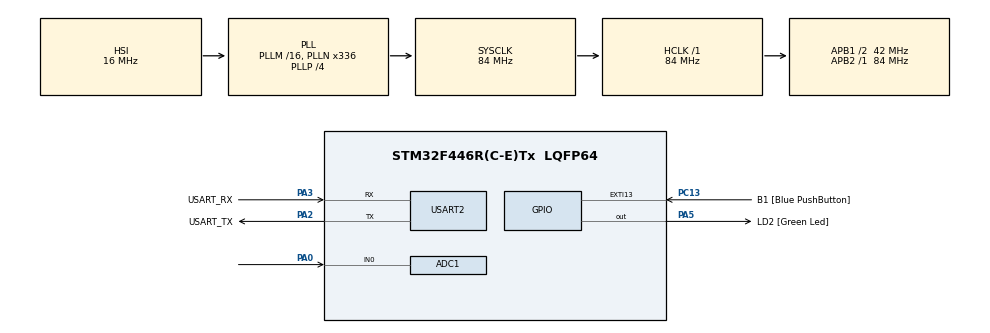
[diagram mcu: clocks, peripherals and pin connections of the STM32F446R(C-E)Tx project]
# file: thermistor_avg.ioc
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ADC1.Channel-0\#ChannelRegularConversion=ADC_CHANNEL_0
ADC1.NbrOfConversionFlag=1
ADC1.Rank-0\#ChannelRegularConversion=1
ADC1.SamplingTime-0\#ChannelRegularConversion=ADC_SAMPLETIME_84CYCLES
ADC1.master=1
Mcu.Family=STM32F4
Mcu.Name=STM32F446R(C-E)Tx
Mcu.Package=LQFP64
NVIC.PriorityGroup=NVIC_PRIORITYGROUP_0
NVIC.TIM3_IRQn=true\:0\:0\:false\:false\:true\:true\:true\:true
PA0-WKUP.Signal=ADCx_IN0
PA13.GPIO_Label=TMS
PA13.Mode=Serial_Wire
PA13.Signal=SYS_JTMS-SWDIO
PA14.GPIO_Label=TCK
PA14.Mode=Serial_Wire
PA14.Signal=SYS_JTCK-SWCLK
PA2.GPIO_Label=USART_TX
PA2.Mode=Asynchronous
PA2.Signal=USART2_TX
PA3.GPIO_Label=USART_RX
PA3.Mode=Asynchronous
PA3.Signal=USART2_RX
PA5.GPIO_Label=LD2 [Green Led]
PA5.Signal=GPIO_Output
PB3.GPIO_Label=SWO
PB3.Signal=SYS_JTDO-SWO
PC13.GPIO_Label=B1 [Blue PushButton]
PC13.GPIO_ModeDefaultEXTI=GPIO_MODE_IT_FALLING
PC13.Signal=GPXTI13
PC14-OSC32_IN.Signal=RCC_OSC32_IN
PC15-OSC32_OUT.Signal=RCC_OSC32_OUT
PH0-OSC_IN.Signal=RCC_OSC_IN
PH1-OSC_OUT.Signal=RCC_OSC_OUT
ProjectManager.HeapSize=0x200
ProjectManager.StackSize=0x400
ProjectManager.TargetToolchain=STM32CubeIDE
RCC.AHBFreq_Value=84000000
RCC.APB1CLKDivider=RCC_HCLK_DIV2
RCC.APB1Freq_Value=42000000
RCC.APB1TimFreq_Value=84000000
RCC.APB2Freq_Value=84000000
RCC.APB2TimFreq_Value=84000000
RCC.CortexFreq_Value=84000000
RCC.FLatency-AdvancedSettings=FLASH_LATENCY_2
RCC.HCLKFreq_Value=84000000
RCC.HSE_VALUE=8000000
RCC.HSI_VALUE=16000000
RCC.LSE_VALUE=32768
RCC.PLLN=336
RCC.PLLP=RCC_PLLP_DIV4
RCC.SYSCLKFreq_VALUE=84000000
RCC.SYSCLKSource=RCC_SYSCLKSOURCE_PLLCLK
RCC.USBFreq_Value=168000000
RCC.VCOOutputFreq_Value=336000000
SH.ADCx_IN0.0=ADC1_IN0,IN0
TIM3.Period=999
TIM3.Prescaler=8399
USART2.VirtualMode=VM_ASYNC
VP_TIM3_VS_ClockSourceINT.Mode=Internal
board=NUCLEO-F446RE

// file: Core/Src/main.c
/* USER CODE BEGIN Header */
/**
  ******************************************************************************
  * @file           : main.c
  * @brief          : Main program body
  ******************************************************************************
  * @attention
  *
  * Copyright (c) 2026 STMicroelectronics.
  * All rights reserved.
  *
  * This software is licensed under terms that can be found in the LICENSE file
  * in the root directory of this software component.
  * If no LICENSE file comes with this software, it is provided AS-IS.
  *
  ******************************************************************************
  */
/* USER CODE END Header */
#include "main.h"

/* USER CODE BEGIN Includes */
#include <string.h>
#include <stdio.h>
#include <math.h>
/* USER CODE END Includes */

/* USER CODE BEGIN PTD */
typedef enum{
	THERM_OK = 0,
	THERM_DISCONNECTED = 1,
	THERM_SHORTED = 2,
}ThermStatus;

typedef enum{
	THERM_REPORT_OK = 0,
	THERM_REPORT_READ_ERROR = 1,
	THERM_REPORT_SHORTED = 2,
	THERM_REPORT_DISCONNECTED = 3
}ThermTallyReport;

typedef struct{
	uint32_t ok_adc_sum;
	uint8_t read_ok;
	uint8_t disconnected;
	uint8_t shorted;
	uint8_t read_error;
}SampleTally;
/* USER CODE END PTD */

/* USER CODE BEGIN PM */
#define ADC_TIMEOUT_MS 10
#define R_FIXED 9870.0f // measured fixed resistor (ohms)
#define R_0 10000.0f // thermistor resistance at 25 C
#define T_0 298.15f // 25 C in Kelvin
#define BETA 3950.0f
#define KELVIN_OFFSET 273.15f
#define UART_TIMEOUT_MS 100
#define ADC_MIN_VALID 50
#define ADC_MAX_VALID 4045
#define ADC_MAX_COUNT 4095.0f
#define SAMPLES_PER_AVE 10
/* USER CODE END PM */

ADC_HandleTypeDef hadc1;

TIM_HandleTypeDef htim3;

UART_HandleTypeDef huart2;

/* USER CODE BEGIN PV */
volatile uint8_t sample_flag = 0;

/* USER CODE END PV */

void SystemClock_Config(void);
static void MX_GPIO_Init(void);
static void MX_USART2_UART_Init(void);
static void MX_ADC1_Init(void);
static void MX_TIM3_Init(void);

/* USER CODE BEGIN PFP */
HAL_StatusTypeDef readThermistorRaw(ADC_HandleTypeDef *hadc, uint32_t *raw_count);
float adcToTempF(float adc);
HAL_StatusTypeDef uartPrint(UART_HandleTypeDef *huart, const char *msg);
ThermStatus getThermStatus(uint32_t raw_count);
uint32_t getTallyTotal(const SampleTally *tally);
void recordSample(SampleTally *tally, HAL_StatusTypeDef status, uint32_t raw_count);
void resetTally(SampleTally *tally);
ThermTallyReport getDecision(const SampleTally *tally);
HAL_StatusTypeDef printReport(UART_HandleTypeDef *huart, ThermTallyReport decision, float temp_f);

/* USER CODE END PFP */

int main(void)
{

  /* MCU Configuration--------------------------------------------------------*/

  /* Reset of all peripherals, Initializes the Flash interface and the Systick. */
  HAL_Init();

  /* Configure the system clock */
  SystemClock_Config();

  /* Initialize all configured peripherals */
  MX_GPIO_Init();
  MX_USART2_UART_Init();
  MX_ADC1_Init();
  MX_TIM3_Init();
  /* USER CODE BEGIN 2 */
  char buffer[32];
  SampleTally tally = {0};
  float temp_f = 0.0f;

  HAL_StatusTypeDef status = HAL_TIM_Base_Start_IT(&htim3);
  if(status != HAL_OK){
	  snprintf(buffer, sizeof(buffer), "Timer start error: %d\r\n", status);
	  (void)uartPrint(&huart2, buffer);
	  Error_Handler();
  }
  /* USER CODE END 2 */

  /* Infinite loop */
  while (1)
  {

	  /* USER CODE BEGIN 3 */
	  if(sample_flag == 1){
		  sample_flag = 0;
		  uint32_t adc = 0;
		  status = readThermistorRaw(&hadc1, &adc);
		  recordSample(&tally, status, adc);
		  if(getTallyTotal(&tally) == SAMPLES_PER_AVE){
			  ThermTallyReport decision = getDecision(&tally);
			  if(decision == THERM_REPORT_OK){
				  float ave_adc = (float)(tally.ok_adc_sum) / tally.read_ok;
				  temp_f = adcToTempF(ave_adc);
			  }
			  (void)printReport(&huart2, decision, temp_f);
			  resetTally(&tally);
		  }
	  }
  }
  /* USER CODE END 3 */
}

void SystemClock_Config(void)
{
  RCC_OscInitTypeDef RCC_OscInitStruct = {0};
  RCC_ClkInitTypeDef RCC_ClkInitStruct = {0};

  /** Configure the main internal regulator output voltage
  */
  __HAL_RCC_PWR_CLK_ENABLE();
  __HAL_PWR_VOLTAGESCALING_CONFIG(PWR_REGULATOR_VOLTAGE_SCALE3);

  /** Initializes the RCC Oscillators according to the specified parameters
  * in the RCC_OscInitTypeDef structure.
  */
  RCC_OscInitStruct.OscillatorType = RCC_OSCILLATORTYPE_HSI;
  RCC_OscInitStruct.HSIState = RCC_HSI_ON;
  RCC_OscInitStruct.HSICalibrationValue = RCC_HSICALIBRATION_DEFAULT;
  RCC_OscInitStruct.PLL.PLLState = RCC_PLL_ON;
  RCC_OscInitStruct.PLL.PLLSource = RCC_PLLSOURCE_HSI;
  RCC_OscInitStruct.PLL.PLLM = 16;
  RCC_OscInitStruct.PLL.PLLN = 336;
  RCC_OscInitStruct.PLL.PLLP = RCC_PLLP_DIV4;
  RCC_OscInitStruct.PLL.PLLQ = 2;
  RCC_OscInitStruct.PLL.PLLR = 2;
  if (HAL_RCC_OscConfig(&RCC_OscInitStruct) != HAL_OK)
  {
    Error_Handler();
  }

  /** Initializes the CPU, AHB and APB buses clocks
  */
  RCC_ClkInitStruct.ClockType = RCC_CLOCKTYPE_HCLK|RCC_CLOCKTYPE_SYSCLK
                              |RCC_CLOCKTYPE_PCLK1|RCC_CLOCKTYPE_PCLK2;
  RCC_ClkInitStruct.SYSCLKSource = RCC_SYSCLKSOURCE_PLLCLK;
  RCC_ClkInitStruct.AHBCLKDivider = RCC_SYSCLK_DIV1;
  RCC_ClkInitStruct.APB1CLKDivider = RCC_HCLK_DIV2;
  RCC_ClkInitStruct.APB2CLKDivider = RCC_HCLK_DIV1;

  if (HAL_RCC_ClockConfig(&RCC_ClkInitStruct, FLASH_LATENCY_2) != HAL_OK)
  {
    Error_Handler();
  }
}

static void MX_ADC1_Init(void)
{

  ADC_ChannelConfTypeDef sConfig = {0};

  /** Configure the global features of the ADC (Clock, Resolution, Data Alignment and number of conversion)
  */
  hadc1.Instance = ADC1;
  hadc1.Init.ClockPrescaler = ADC_CLOCK_SYNC_PCLK_DIV4;
  hadc1.Init.Resolution = ADC_RESOLUTION_12B;
  hadc1.Init.ScanConvMode = DISABLE;
  hadc1.Init.ContinuousConvMode = DISABLE;
  hadc1.Init.DiscontinuousConvMode = DISABLE;
  hadc1.Init.ExternalTrigConvEdge = ADC_EXTERNALTRIGCONVEDGE_NONE;
  hadc1.Init.ExternalTrigConv = ADC_SOFTWARE_START;
  hadc1.Init.DataAlign = ADC_DATAALIGN_RIGHT;
  hadc1.Init.NbrOfConversion = 1;
  hadc1.Init.DMAContinuousRequests = DISABLE;
  hadc1.Init.EOCSelection = ADC_EOC_SINGLE_CONV;
  if (HAL_ADC_Init(&hadc1) != HAL_OK)
  {
    Error_Handler();
  }

  /** Configure for the selected ADC regular channel its corresponding rank in the sequencer and its sample time.
  */
  sConfig.Channel = ADC_CHANNEL_0;
  sConfig.Rank = 1;
  sConfig.SamplingTime = ADC_SAMPLETIME_84CYCLES;
  if (HAL_ADC_ConfigChannel(&hadc1, &sConfig) != HAL_OK)
  {
    Error_Handler();
  }

}

static void MX_TIM3_Init(void)
{

  TIM_ClockConfigTypeDef sClockSourceConfig = {0};
  TIM_MasterConfigTypeDef sMasterConfig = {0};

  htim3.Instance = TIM3;
  htim3.Init.Prescaler = 8399;
  htim3.Init.CounterMode = TIM_COUNTERMODE_UP;
  htim3.Init.Period = 999;
  htim3.Init.ClockDivision = TIM_CLOCKDIVISION_DIV1;
  htim3.Init.AutoReloadPreload = TIM_AUTORELOAD_PRELOAD_DISABLE;
  if (HAL_TIM_Base_Init(&htim3) != HAL_OK)
  {
    Error_Handler();
  }
  sClockSourceConfig.ClockSource = TIM_CLOCKSOURCE_INTERNAL;
  if (HAL_TIM_ConfigClockSource(&htim3, &sClockSourceConfig) != HAL_OK)
  {
    Error_Handler();
  }
  sMasterConfig.MasterOutputTrigger = TIM_TRGO_RESET;
  sMasterConfig.MasterSlaveMode = TIM_MASTERSLAVEMODE_DISABLE;
  if (HAL_TIMEx_MasterConfigSynchronization(&htim3, &sMasterConfig) != HAL_OK)
  {
    Error_Handler();
  }

}

static void MX_USART2_UART_Init(void)
{

  huart2.Instance = USART2;
  huart2.Init.BaudRate = 115200;
  huart2.Init.WordLength = UART_WORDLENGTH_8B;
  huart2.Init.StopBits = UART_STOPBITS_1;
  huart2.Init.Parity = UART_PARITY_NONE;
  huart2.Init.Mode = UART_MODE_TX_RX;
  huart2.Init.HwFlowCtl = UART_HWCONTROL_NONE;
  huart2.Init.OverSampling = UART_OVERSAMPLING_16;
  if (HAL_UART_Init(&huart2) != HAL_OK)
  {
    Error_Handler();
  }

}

static void MX_GPIO_Init(void)
{
  GPIO_InitTypeDef GPIO_InitStruct = {0};

  /* GPIO Ports Clock Enable */
  __HAL_RCC_GPIOC_CLK_ENABLE();
  __HAL_RCC_GPIOH_CLK_ENABLE();
  __HAL_RCC_GPIOA_CLK_ENABLE();
  __HAL_RCC_GPIOB_CLK_ENABLE();

  /*Configure GPIO pin Output Level */
  HAL_GPIO_WritePin(LD2_GPIO_Port, LD2_Pin, GPIO_PIN_RESET);

  /*Configure GPIO pin : B1_Pin */
  GPIO_InitStruct.Pin = B1_Pin;
  GPIO_InitStruct.Mode = GPIO_MODE_IT_FALLING;
  GPIO_InitStruct.Pull = GPIO_NOPULL;
  HAL_GPIO_Init(B1_GPIO_Port, &GPIO_InitStruct);

  /*Configure GPIO pin : LD2_Pin */
  GPIO_InitStruct.Pin = LD2_Pin;
  GPIO_InitStruct.Mode = GPIO_MODE_OUTPUT_PP;
  GPIO_InitStruct.Pull = GPIO_NOPULL;
  GPIO_InitStruct.Speed = GPIO_SPEED_FREQ_LOW;
  HAL_GPIO_Init(LD2_GPIO_Port, &GPIO_InitStruct);

}

/* USER CODE BEGIN 4 */
void HAL_TIM_PeriodElapsedCallback(TIM_HandleTypeDef *htim){

	if(htim->Instance == TIM3){
		sample_flag = 1;
	}
}

HAL_StatusTypeDef readThermistorRaw(ADC_HandleTypeDef *hadc, uint32_t *raw_count){
	HAL_StatusTypeDef status = HAL_ADC_Start(hadc);
	if(status != HAL_OK){
		return status;
	}
	status = HAL_ADC_PollForConversion(hadc, ADC_TIMEOUT_MS);
	if(status != HAL_OK){
		return status;
	}
	*raw_count = HAL_ADC_GetValue(hadc);
	return status;
}

/*Expects a valid reading between ADC_MIN_VALID and ADC_MAX_VALID*/
float adcToTempF(float adc){
	float res_temp = R_FIXED * (ADC_MAX_COUNT / adc - 1.0f);
	float invert_t = 1.0f / T_0 + ((1.0f / BETA) * logf(res_temp / R_0));
	float temp_k = 1.0f / invert_t;
	float temp_c = temp_k - KELVIN_OFFSET;
	float temp_f = temp_c * (9.0f / 5.0f) + 32.0f;
	return temp_f;
}

HAL_StatusTypeDef uartPrint(UART_HandleTypeDef *huart, const char *msg){
	HAL_StatusTypeDef status = HAL_UART_Transmit(huart, (const uint8_t *)msg, strlen(msg), UART_TIMEOUT_MS);
	return status;
}

ThermStatus getThermStatus(uint32_t raw_count){
	if(raw_count < ADC_MIN_VALID){
		return THERM_DISCONNECTED;
	}
	else if(raw_count > ADC_MAX_VALID){
		return THERM_SHORTED;
	}
	else{
		return THERM_OK;
	}
}

void resetTally(SampleTally *tally){
	*tally = (SampleTally){0};
}

uint32_t getTallyTotal(const SampleTally *tally){
	uint32_t total = tally->read_ok + tally->disconnected + tally->shorted + tally->read_error;
	return total;
}

void recordSample(SampleTally *tally, HAL_StatusTypeDef status, uint32_t raw_count){
	if(status != HAL_OK){
		tally->read_error++;
	}
	else{
		switch(getThermStatus(raw_count)){
			case THERM_OK:
				tally->read_ok++;
				tally->ok_adc_sum += raw_count;
				break;
			case THERM_DISCONNECTED:
				tally->disconnected++;
				break;
			case THERM_SHORTED:
				tally->shorted++;
				break;
		}
	}
}

ThermTallyReport getDecision(const SampleTally *tally){
	if(tally->read_ok > (getTallyTotal(tally) - tally->read_ok)){
		return THERM_REPORT_OK;
	}
	else if((tally->read_error >= tally->disconnected) && (tally->read_error >= tally->shorted)){
		return THERM_REPORT_READ_ERROR;
	}
	else if((tally->shorted >= tally->read_error) && (tally->shorted >= tally->disconnected)){
		return THERM_REPORT_SHORTED;
	}
	else{
		return THERM_REPORT_DISCONNECTED;
	}
}

HAL_StatusTypeDef printReport(UART_HandleTypeDef *huart, ThermTallyReport decision, float temp_f){
	switch(decision){
		case THERM_REPORT_OK: {
			char buffer[32];
			snprintf(buffer, sizeof(buffer), "Temp: %.2f F\r\n", temp_f);
			return uartPrint(huart, buffer);
		}
		case THERM_REPORT_READ_ERROR:
			return uartPrint(huart, "Read error fault!\r\n");
		case THERM_REPORT_SHORTED:
			return uartPrint(huart, "Thermistor shorted!\r\n");
		case THERM_REPORT_DISCONNECTED:
			return uartPrint(huart, "Thermistor disconnected!\r\n");
	}
	return HAL_ERROR;
}
/* USER CODE END 4 */

void Error_Handler(void)
{
  __disable_irq();
  while (1)
  {
  }
}
